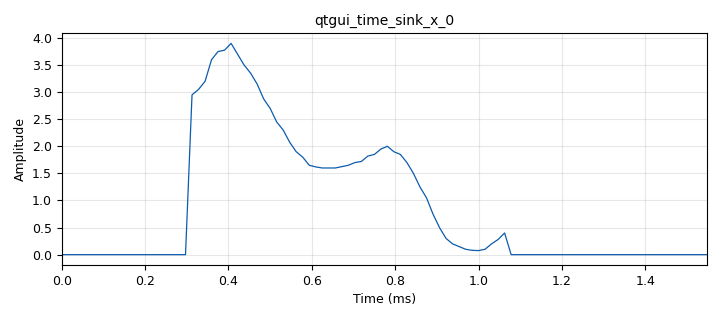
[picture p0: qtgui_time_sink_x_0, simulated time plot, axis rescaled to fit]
options:
  parameters:
    generate_options: qt_gui
    id: Leone
    output_language: python
    title: Not titled yet
  states: {}

blocks:
- name: samp_rate
  id: variable
  parameters:
    value: '32000'
  states: {}
- name: blocks_throttle_0
  id: blocks_throttle
  parameters:
    samples_per_second: 2*samp_rate
    type: float
  states: {}
- name: blocks_vector_source_x_0
  id: blocks_vector_source_x
  parameters:
    repeat: 'True'
    type: float
    vector: '[0]*20+[2.95, 3.05, 3.2, 3.6, 3.75, 3.775, 3.9, 3.7, 3.5, 3.35, 3.15, 2.875, 2.7, 2.45, 2.3, 2.075, 1.9, 1.8, 1.65, 1.62, 1.6, 1.6, 1.6, 1.625, 1.65, 1.7, 1.72, 1.82, 1.85, 1.95, 2.0, 1.9, 1.85, 1.7, 1.5, 1.25, 1.05, 0.75, 0.5, 0.3, 0.2, 0.15, 0.1, 0.08, 0.075, 0.1, 0.2, 0.28, 0.4]+31*[0]'
  states: {}
- name: qtgui_time_sink_x_0
  id: qtgui_time_sink_x
  parameters:
    size: '100'
    srate: 2*samp_rate
    type: float
  states: {}

connections:
- [blocks_throttle_0, '0', qtgui_time_sink_x_0, '0']
- [blocks_vector_source_x_0, '0', blocks_throttle_0, '0']

metadata:
  file_format: 1
